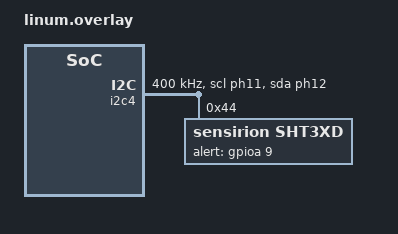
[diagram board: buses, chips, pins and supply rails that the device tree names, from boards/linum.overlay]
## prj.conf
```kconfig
# Copyright (c) 2021 Nordic Semiconductor ASA
# SPDX-License-Identifier: Apache-2.0
#
# This file contains selected Kconfig options for the application.

CONFIG_I2C=y
CONFIG_SENSOR=y
CONFIG_CBPRINTF_FP_SUPPORT=y
```

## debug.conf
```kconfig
# Copyright (c) 2021 Nordic Semiconductor ASA
# SPDX-License-Identifier: Apache-2.0
#
# This is a Kconfig fragment which can be used to enable debug-related options
# in the application. See the README for more details.

CONFIG_DEBUG=y

CONFIG_LOG=y
CONFIG_APP_LOG_LEVEL_DBG=y

CONFIG_SHELL=y
CONFIG_I2C_SHELL=y
```

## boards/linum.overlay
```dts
/*
 * Copyright (c) 2019 Peter Bigot Consulting, LLC
 *
 * SPDX-License-Identifier: Apache-2.0
 */

&i2c4 { 
	pinctrl-0 = <&i2c4_scl_ph11 &i2c4_sda_ph12>;
	pinctrl-names = "default";
	status = "okay";
	clock-frequency = <I2C_BITRATE_FAST>;

	sht3xd@44 {
		compatible = "sensirion,sht3xd";
		reg = <0x44>;
		alert-gpios = <&gpioa 9 GPIO_ACTIVE_HIGH>;
	};
};
```

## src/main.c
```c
/*
 * Copyright (c) 2021 Nordic Semiconductor ASA
 * SPDX-License-Identifier: Apache-2.0
 */

#include <zephyr/kernel.h>
#include <zephyr/device.h>
#include <zephyr/drivers/sensor.h>

static int sht3x_init(void);
static int sht3x_read(void);

const struct device *const dev = DEVICE_DT_GET_ONE(sensirion_sht3xd);

static int sht3x_init(void)
{
	if (!device_is_ready(dev)) {
		printk("Device %s is not ready\n", dev->name);
		k_sleep(K_MSEC(1000));
		return -EIO;
	}

	return 0;
}

static int sht3x_read(void)
{
	int rc;
	struct sensor_value temp, hum;

	rc = sensor_sample_fetch(dev);
	if (rc == 0) {
		rc = sensor_channel_get(dev, SENSOR_CHAN_AMBIENT_TEMP,
					&temp);
	}

	if (rc == 0) {
		rc = sensor_channel_get(dev, SENSOR_CHAN_HUMIDITY,
					&hum);
	}

	if (rc != 0) {
		printk("SHT3XD: failed: %d\n", rc);
	}

	printk("SHT3XD: %.2f Cel ; %0.2f %%RH\n",
	       sensor_value_to_double(&temp),
	       sensor_value_to_double(&hum));

	return rc;
}

int main(void)
{
	int rc;

	rc = sht3x_init();
	if(rc)
	{
		return rc;
	}

	while (1) {

		sht3x_read();
		k_sleep(K_MSEC(1000));
	}

	return 0;
}
```
